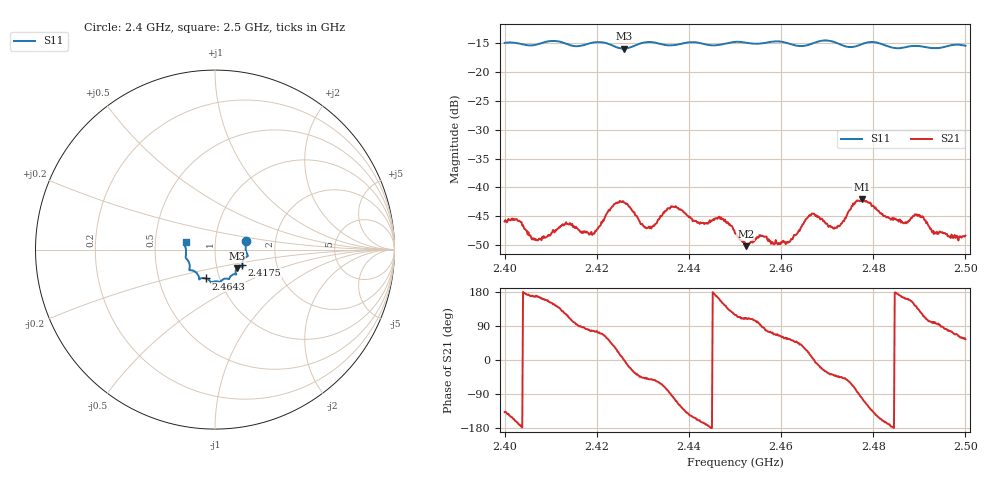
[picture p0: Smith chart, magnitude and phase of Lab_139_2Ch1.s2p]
# Hz S RI R 50
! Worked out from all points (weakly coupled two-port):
!   601 points, 2.4 GHz to 2.5 GHz, reference 50 ohm
!   highest |S21| = -42.05 dB at 2.4775 GHz (marker M1); lowest = -50.2 dB at 2.4523 GHz (marker M2)
!   lowest |S11| = -15.9 dB at 2.4258 GHz (marker M3), VSWR 1.38, Z = 62.3 - j13.2 ohm
!   |S11| at or under -10 dB: start of sweep to end of sweep
!   S12 and S22 are empty: the file has one direction only
!   S11 on the Smith chart (normalised r, x): 2.4 GHz: 1.41, +0.14; 2.4175 GHz: 1.34, -0.23; 2.4643 GHz: 0.86, -0.28; 2.5 GHz: 0.72, +0.06
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2.4e9  0.173 0.0484  -0.00374 -0.00342  0 0  0 0
2.403e9  0.1744 0.0346  -0.00501 -0.00099  0 0  0 0
2.406833e9  0.1729 -0.00827  -0.00349 0.000617  0 0  0 0
2.413e9  0.1739 -0.0411  -0.0026 0.00396  0 0  0 0
2.416667e9  0.1527 -0.0742  0.000184 0.00414  0 0  0 0
2.4175e9  0.1519 -0.0834  0.00052 0.00409  0 0  0 0
2.425833e9  0.1218 -0.1036  0.00743 0.000195  0 0  0 0
2.4305e9  0.1181 -0.1377  0.00294 -0.00337  0 0  0 0
2.433333e9  0.1129 -0.1372  0.00281 -0.00446  0 0  0 0
2.436667e9  0.0893 -0.1464  -0.00118 -0.00669  0 0  0 0
2.447e9  0.0402 -0.1691  -0.00496 0.00232  0 0  0 0
2.45e9  0.0288 -0.1809  -0.00194 0.00351  0 0  0 0
2.452333e9  0.0211 -0.1791  -0.00112 0.00288  0 0  0 0
2.4615e9  -0.0278 -0.1756  0.00187 0.00273  0 0  0 0
2.464333e9  -0.05 -0.1608  0.00343 0.00296  0 0  0 0
2.466667e9  -0.076 -0.1593  0.00588 0.000761  0 0  0 0
2.471667e9  -0.0881 -0.159  0.00343 -0.0029  0 0  0 0
2.4775e9  -0.1312 -0.1154  -0.00133 -0.00779  0 0  0 0
2.483333e9  -0.1407 -0.0898  -0.00536 -0.000972  0 0  0 0
2.4895e9  -0.1631 -0.0433  -0.00428 0.00396  0 0  0 0
2.493167e9  -0.1612 -0.0122  -0.000498 0.00391  0 0  0 0
2.5e9  -0.164 0.0429  0.00219 0.00313  0 0  0 0
